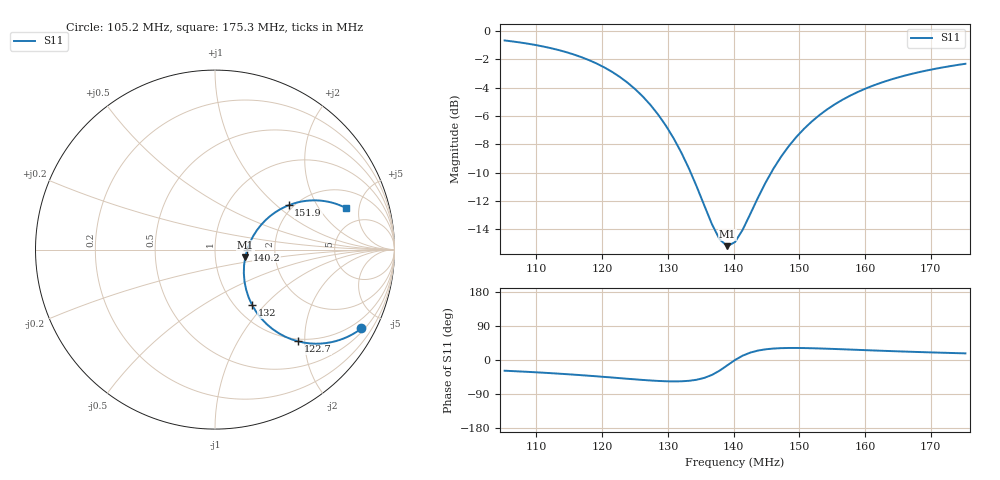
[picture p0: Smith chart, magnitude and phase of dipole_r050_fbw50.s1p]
! Free-space dipole, 1.0 m, 5.0 mm radius
! resonance 140.22 MHz, antenna Q 5.1, fractional bandwidth 50%
! generated with NEC via necpp
# MHZ S MA R 50
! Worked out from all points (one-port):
!   61 points, 105.2 MHz to 175.3 MHz, reference 50 ohm
!   lowest |S11| = -15.2 dB at 139.1 MHz (marker M1), VSWR 1.42, Z = 70 - j6.07 ohm
!   |S11| at or under -10 dB: 133.5 MHz to 145.7 MHz (12.26 MHz wide, 8.78 % of centre)
!   S11 on the Smith chart (normalised r, x): 105.2 MHz: 0.62, -3.87; 122.7 MHz: 0.95, -1.86; 132 MHz: 1.19, -0.85; 140.2 MHz: 1.44, +0.00; 151.9 MHz: 1.89, +1.21; 175.3 MHz: 3.28, +3.67
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105.1639  0.9266 -28.3
109.8378  0.8931 -32.4
114.5118  0.8429 -37.3
116.8487  0.809 -40.1
119.1857  0.7676 -43.1
122.6912  0.6887 -47.9
125.0282  0.6235 -51.1
127.3651  0.548 -54.0
129.7021  0.4632 -56.1
132.0391  0.3725 -56.2
133.2076  0.3269 -54.9
134.3761  0.2827 -52.2
136.713  0.2077 -39.4
137.8815  0.1836 -28.0
139.05  0.1737 -14.0
140.2185  0.1796 0.0
141.387  0.1985 11.5
143.724  0.2581 24.9
144.8924  0.292 28.3
147.2294  0.3597 31.3
149.5664  0.4228 31.8
151.9034  0.4792 31.0
154.2403  0.5288 29.8
157.7458  0.5914 27.5
162.4198  0.6566 24.5
167.0937  0.7059 21.7
170.5992  0.7351 19.8
175.2731  0.7664 17.5
